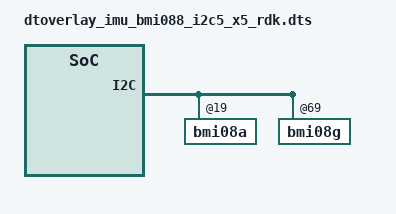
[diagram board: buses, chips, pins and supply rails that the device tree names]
/dts-v1/;
/plugin/;

/ {
  fragment@0 {
    target-path = "/soc/a55_apb0/i2c@341c0000/";
    __overlay__ {

      bmi08a:bmi08a@19{
        status = "okay";
      };
      bmi08g:bmi08g@69{
        status = "okay";
      };
    };
  };

  fragment@1 {
    target-path = "/soc/a55_apb0/spi@34010000";
    __overlay__ {

      status = "disable";

    };
  };

};

